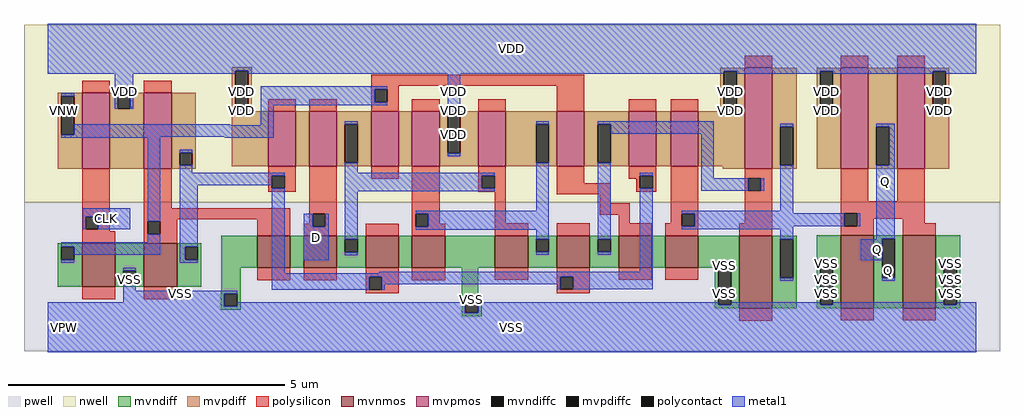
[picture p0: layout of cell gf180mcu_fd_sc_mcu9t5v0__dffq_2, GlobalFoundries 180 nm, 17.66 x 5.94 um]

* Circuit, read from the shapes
.subckt gf180mcu_fd_sc_mcu9t5v0__dffq_2 D CLK Q VDD VNW VPW VSS
XM1 VSS CLK n1 VPW nfet_06v0 w=0.79u l=0.6u
XM2 n2 n1 VSS VPW nfet_06v0 w=0.79u l=0.6u
XM3 n3 n1 VSS VPW nfet_06v0 w=0.58u l=0.6u
XM4 n4 D n3 VPW nfet_06v0 w=0.58u l=0.6u
XM5 n5 n2 n4 VPW nfet_06v0 w=0.58u l=0.6u
XM6 VSS n6 n5 VPW nfet_06v0 w=0.58u l=0.6u
XM7 n6 n4 VSS VPW nfet_06v0 w=0.58u l=0.6u
XM8 n7 n2 n6 VPW nfet_06v0 w=0.58u l=0.6u
XM9 n8 n1 n7 VPW nfet_06v0 w=0.58u l=0.6u
XM10 VSS n9 n8 VPW nfet_06v0 w=0.58u l=0.6u
XM11 n9 n7 VSS VPW nfet_06v0 w=1.32u l=0.6u
XM12 Q n9 VSS VPW nfet_06v0 w=1.32u l=0.6u m=2
XM13 VDD CLK n1 VNW pfet_06v0 w=1.38u l=0.5u
XM14 n2 n1 VDD VNW pfet_06v0 w=1.38u l=0.5u
XM15 n10 n2 VDD VNW pfet_06v0 w=1u l=0.5u
XM16 n4 D n10 VNW pfet_06v0 w=1u l=0.5u
XM17 n11 n1 n4 VNW pfet_06v0 w=1u l=0.5u
XM18 VDD n6 n11 VNW pfet_06v0 w=1u l=0.5u
XM19 n6 n4 VDD VNW pfet_06v0 w=1u l=0.5u
XM20 n7 n1 n6 VNW pfet_06v0 w=1u l=0.5u
XM21 n12 n2 n7 VNW pfet_06v0 w=1u l=0.5u
XM22 VDD n9 n12 VNW pfet_06v0 w=1u l=0.5u
XM23 n9 n7 VDD VNW pfet_06v0 w=1.83u l=0.5u
XM24 Q n9 VDD VNW pfet_06v0 w=1.83u l=0.5u m=2
.ends

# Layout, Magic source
magic
tech gf180mcuD
magscale 1 10
<< nwell >>
rect -86 453 3446 1094
<< pwell >>
rect -86 -86 3446 453
<< mvnmos >>
rect 124 146 244 304
rect 348 146 468 304
rect 758 215 878 331
rect 926 215 1046 331
rect 1150 215 1270 331
rect 1318 215 1438 331
rect 1618 216 1738 332
rect 1842 216 1962 332
rect 2066 216 2186 332
rect 2234 216 2354 332
rect 2502 68 2622 332
rect 2870 69 2990 333
rect 3094 69 3214 333
<< mvpmos >>
rect 124 573 224 849
rect 348 573 448 849
rect 798 582 898 782
rect 946 582 1046 782
rect 1170 582 1270 782
rect 1318 582 1418 782
rect 1558 582 1658 782
rect 1842 582 1942 782
rect 2102 582 2202 782
rect 2254 582 2354 782
rect 2522 573 2622 939
rect 2870 573 2970 939
rect 3074 573 3174 939
<< mvndiff >>
rect 1538 331 1618 332
rect 36 291 124 304
rect 36 245 49 291
rect 95 245 124 291
rect 36 146 124 245
rect 244 205 348 304
rect 244 159 273 205
rect 319 159 348 205
rect 244 146 348 159
rect 468 291 556 304
rect 468 245 497 291
rect 543 245 556 291
rect 468 146 556 245
rect 628 215 758 331
rect 878 215 926 331
rect 1046 318 1150 331
rect 1046 272 1075 318
rect 1121 272 1150 318
rect 1046 215 1150 272
rect 1270 215 1318 331
rect 1438 216 1618 331
rect 1738 319 1842 332
rect 1738 273 1767 319
rect 1813 273 1842 319
rect 1738 216 1842 273
rect 1962 319 2066 332
rect 1962 273 1991 319
rect 2037 273 2066 319
rect 1962 216 2066 273
rect 2186 216 2234 332
rect 2354 221 2502 332
rect 2354 216 2427 221
rect 1438 215 1558 216
rect 628 129 698 215
rect 626 122 698 129
rect 626 76 639 122
rect 685 76 698 122
rect 626 63 698 76
rect 1498 111 1558 215
rect 1498 98 1570 111
rect 1498 52 1511 98
rect 1557 52 1570 98
rect 2414 81 2427 216
rect 2473 81 2502 221
rect 2414 68 2502 81
rect 2622 319 2710 332
rect 2622 179 2651 319
rect 2697 179 2710 319
rect 2622 68 2710 179
rect 2782 222 2870 333
rect 2782 82 2795 222
rect 2841 82 2870 222
rect 2782 69 2870 82
rect 2990 320 3094 333
rect 2990 180 3019 320
rect 3065 180 3094 320
rect 2990 69 3094 180
rect 3214 222 3302 333
rect 3214 82 3243 222
rect 3289 82 3302 222
rect 3214 69 3302 82
rect 1498 39 1570 52
<< mvpdiff >>
rect 666 928 738 941
rect 36 836 124 849
rect 36 696 49 836
rect 95 696 124 836
rect 36 573 124 696
rect 224 836 348 849
rect 224 790 253 836
rect 299 790 348 836
rect 224 573 348 790
rect 448 632 536 849
rect 448 586 477 632
rect 523 586 536 632
rect 448 573 536 586
rect 666 788 679 928
rect 725 788 738 928
rect 2434 926 2522 939
rect 666 782 738 788
rect 2434 786 2447 926
rect 2493 786 2522 926
rect 2434 782 2522 786
rect 666 582 798 782
rect 898 582 946 782
rect 1046 735 1170 782
rect 1046 595 1075 735
rect 1121 595 1170 735
rect 1046 582 1170 595
rect 1270 582 1318 782
rect 1418 769 1558 782
rect 1418 629 1447 769
rect 1493 629 1558 769
rect 1418 582 1558 629
rect 1658 735 1842 782
rect 1658 595 1767 735
rect 1813 595 1842 735
rect 1658 582 1842 595
rect 1942 735 2102 782
rect 1942 595 1991 735
rect 2037 595 2102 735
rect 1942 582 2102 595
rect 2202 582 2254 782
rect 2354 582 2522 782
rect 2442 573 2522 582
rect 2622 726 2710 939
rect 2622 586 2651 726
rect 2697 586 2710 726
rect 2622 573 2710 586
rect 2782 926 2870 939
rect 2782 786 2795 926
rect 2841 786 2870 926
rect 2782 573 2870 786
rect 2970 726 3074 939
rect 2970 586 2999 726
rect 3045 586 3074 726
rect 2970 573 3074 586
rect 3174 926 3262 939
rect 3174 786 3203 926
rect 3249 786 3262 926
rect 3174 573 3262 786
<< mvndiffc >>
rect 49 245 95 291
rect 273 159 319 205
rect 497 245 543 291
rect 1075 272 1121 318
rect 1767 273 1813 319
rect 1991 273 2037 319
rect 639 76 685 122
rect 1511 52 1557 98
rect 2427 81 2473 221
rect 2651 179 2697 319
rect 2795 82 2841 222
rect 3019 180 3065 320
rect 3243 82 3289 222
<< mvpdiffc >>
rect 49 696 95 836
rect 253 790 299 836
rect 477 586 523 632
rect 679 788 725 928
rect 2447 786 2493 926
rect 1075 595 1121 735
rect 1447 629 1493 769
rect 1767 595 1813 735
rect 1991 595 2037 735
rect 2651 586 2697 726
rect 2795 786 2841 926
rect 2999 586 3045 726
rect 3203 786 3249 926
<< polysilicon >>
rect 2522 939 2622 983
rect 2870 939 2970 983
rect 3074 939 3174 983
rect 124 849 224 893
rect 348 849 448 893
rect 1170 874 1942 914
rect 1170 861 1270 874
rect 798 782 898 826
rect 946 782 1046 826
rect 1170 815 1183 861
rect 1229 815 1270 861
rect 1170 782 1270 815
rect 1318 782 1418 826
rect 1558 782 1658 826
rect 1842 782 1942 874
rect 2102 782 2202 826
rect 2254 782 2354 826
rect 124 400 224 573
rect 124 354 137 400
rect 183 354 224 400
rect 124 348 224 354
rect 348 431 448 573
rect 798 549 898 582
rect 798 503 811 549
rect 857 503 898 549
rect 798 490 898 503
rect 348 391 878 431
rect 348 383 468 391
rect 124 304 244 348
rect 348 337 361 383
rect 407 337 468 383
rect 348 304 468 337
rect 758 331 878 391
rect 946 410 1046 582
rect 1170 538 1270 582
rect 946 375 959 410
rect 926 364 959 375
rect 1005 364 1046 410
rect 1318 410 1418 582
rect 1558 549 1658 582
rect 1558 503 1571 549
rect 1617 503 1658 549
rect 1558 490 1658 503
rect 926 331 1046 364
rect 1150 331 1270 375
rect 1318 364 1331 410
rect 1377 375 1418 410
rect 1618 376 1658 490
rect 1842 522 1942 582
rect 2102 549 2202 582
rect 2102 538 2143 549
rect 1842 482 2038 522
rect 2130 503 2143 538
rect 2189 503 2202 549
rect 2130 490 2202 503
rect 1998 448 2038 482
rect 1998 408 2106 448
rect 2066 376 2106 408
rect 2254 411 2354 582
rect 2254 376 2295 411
rect 1377 364 1438 375
rect 1318 331 1438 364
rect 1618 332 1738 376
rect 1842 332 1962 376
rect 2066 332 2186 376
rect 2234 365 2295 376
rect 2341 365 2354 411
rect 2522 540 2622 573
rect 2522 494 2535 540
rect 2581 494 2622 540
rect 2522 376 2622 494
rect 2234 332 2354 365
rect 2502 332 2622 376
rect 2870 456 2970 573
rect 3074 456 3174 573
rect 2870 412 3174 456
rect 2870 366 2883 412
rect 2929 393 3174 412
rect 2929 366 2990 393
rect 2870 333 2990 366
rect 3094 377 3174 393
rect 3094 333 3214 377
rect 124 102 244 146
rect 348 102 468 146
rect 758 171 878 215
rect 926 171 1046 215
rect 1150 182 1270 215
rect 1150 136 1163 182
rect 1209 136 1270 182
rect 1318 171 1438 215
rect 1150 123 1270 136
rect 1618 172 1738 216
rect 1842 183 1962 216
rect 1842 137 1855 183
rect 1901 137 1962 183
rect 2066 172 2186 216
rect 2234 172 2354 216
rect 1842 124 1962 137
rect 2502 24 2622 68
rect 2870 25 2990 69
rect 3094 25 3214 69
<< polycontact >>
rect 1183 815 1229 861
rect 137 354 183 400
rect 811 503 857 549
rect 361 337 407 383
rect 959 364 1005 410
rect 1571 503 1617 549
rect 1331 364 1377 410
rect 2143 503 2189 549
rect 2295 365 2341 411
rect 2535 494 2581 540
rect 2883 366 2929 412
rect 1163 136 1209 182
rect 1855 137 1901 183
<< metal1 >>
rect 0 928 3360 1098
rect 0 918 679 928
rect 49 836 95 847
rect 242 836 310 918
rect 242 790 253 836
rect 299 790 310 836
rect 725 926 3360 928
rect 725 918 2447 926
rect 679 777 725 788
rect 771 861 1229 872
rect 771 815 1183 861
rect 771 804 1229 815
rect 95 731 660 735
rect 771 731 817 804
rect 1447 769 1493 918
rect 2493 918 2795 926
rect 2447 775 2493 786
rect 2841 918 3203 926
rect 2795 775 2841 786
rect 3249 918 3360 926
rect 3203 775 3249 786
rect 95 696 817 731
rect 49 689 817 696
rect 49 685 407 689
rect 641 685 817 689
rect 1075 735 1121 746
rect 126 400 298 430
rect 126 354 137 400
rect 183 354 298 400
rect 361 383 407 685
rect 361 308 407 337
rect 49 291 407 308
rect 95 262 407 291
rect 477 632 523 643
rect 477 560 523 586
rect 1447 618 1493 629
rect 1767 735 1813 746
rect 1075 560 1121 595
rect 477 549 857 560
rect 477 514 811 549
rect 477 291 543 514
rect 49 234 95 245
rect 477 245 497 291
rect 477 234 543 245
rect 273 205 319 216
rect 273 133 319 159
rect 811 196 857 503
rect 1075 549 1617 560
rect 1075 503 1571 549
rect 1075 492 1617 503
rect 926 364 959 410
rect 1005 364 1016 410
rect 926 242 1016 364
rect 1075 318 1121 492
rect 1767 421 1813 595
rect 1331 410 1813 421
rect 1377 364 1813 410
rect 1331 353 1813 364
rect 1075 261 1121 272
rect 1767 319 1813 353
rect 1767 262 1813 273
rect 1991 735 2411 746
rect 2037 700 2411 735
rect 1991 319 2037 595
rect 1991 262 2037 273
rect 2143 549 2189 560
rect 2143 201 2189 503
rect 2365 540 2411 700
rect 2651 726 2697 737
rect 2365 494 2535 540
rect 2581 494 2592 540
rect 2651 422 2697 586
rect 2295 412 2697 422
rect 2999 726 3065 737
rect 3045 586 3065 726
rect 2295 411 2883 412
rect 2341 366 2883 411
rect 2929 366 2940 412
rect 2341 365 2697 366
rect 2295 354 2697 365
rect 2651 319 2697 354
rect 1199 196 2189 201
rect 811 183 2189 196
rect 811 182 1855 183
rect 811 136 1163 182
rect 1209 155 1855 182
rect 1209 136 1220 155
rect 1844 137 1855 155
rect 1901 137 2189 183
rect 2427 221 2473 232
rect 273 122 685 133
rect 273 90 639 122
rect 0 76 639 90
rect 1511 98 1557 109
rect 685 76 1511 90
rect 0 52 1511 76
rect 1557 81 2427 90
rect 2999 320 3065 586
rect 2999 318 3019 320
rect 2942 242 3019 318
rect 2651 168 2697 179
rect 2795 222 2841 233
rect 2473 82 2795 90
rect 3019 169 3065 180
rect 3243 222 3289 233
rect 2841 82 3243 90
rect 3289 82 3360 90
rect 2473 81 3360 82
rect 1557 52 3360 81
rect 0 -90 3360 52
<< labels >>
flabel metal1 s 126 354 298 430 0 FreeSans 200 0 0 0 CLK
port 2 nsew clock input
flabel metal1 s 926 242 1016 410 0 FreeSans 200 0 0 0 D
port 1 nsew default input
flabel metal1 s 2999 318 3065 737 0 FreeSans 200 0 0 0 Q
port 3 nsew default output
flabel metal1 s 0 918 3360 1098 0 FreeSans 200 0 0 0 VDD
port 4 nsew power bidirectional abutment
flabel metal1 s 3243 232 3289 233 0 FreeSans 200 0 0 0 VSS
port 7 nsew ground bidirectional abutment
flabel nwell s 10 734 110 834 0 FreeSans 400 0 0 0 VNW
port 5 nsew power bidirectional
flabel pwell s 10 -50 110 50 0 FreeSans 400 0 0 0 VPW
port 6 nsew ground bidirectional
rlabel metal1 s 2942 242 3065 318 1 Q
port 3 nsew default output
rlabel metal1 s 3019 169 3065 242 1 Q
port 3 nsew default output
rlabel metal1 s 3203 790 3249 918 1 VDD
port 4 nsew power bidirectional abutment
rlabel metal1 s 2795 790 2841 918 1 VDD
port 4 nsew power bidirectional abutment
rlabel metal1 s 2447 790 2493 918 1 VDD
port 4 nsew power bidirectional abutment
rlabel metal1 s 1447 790 1493 918 1 VDD
port 4 nsew power bidirectional abutment
rlabel metal1 s 679 790 725 918 1 VDD
port 4 nsew power bidirectional abutment
rlabel metal1 s 242 790 310 918 1 VDD
port 4 nsew power bidirectional abutment
rlabel metal1 s 3203 777 3249 790 1 VDD
port 4 nsew power bidirectional abutment
rlabel metal1 s 2795 777 2841 790 1 VDD
port 4 nsew power bidirectional abutment
rlabel metal1 s 2447 777 2493 790 1 VDD
port 4 nsew power bidirectional abutment
rlabel metal1 s 1447 777 1493 790 1 VDD
port 4 nsew power bidirectional abutment
rlabel metal1 s 679 777 725 790 1 VDD
port 4 nsew power bidirectional abutment
rlabel metal1 s 3203 775 3249 777 1 VDD
port 4 nsew power bidirectional abutment
rlabel metal1 s 2795 775 2841 777 1 VDD
port 4 nsew power bidirectional abutment
rlabel metal1 s 2447 775 2493 777 1 VDD
port 4 nsew power bidirectional abutment
rlabel metal1 s 1447 775 1493 777 1 VDD
port 4 nsew power bidirectional abutment
rlabel metal1 s 1447 618 1493 775 1 VDD
port 4 nsew power bidirectional abutment
rlabel metal1 s 2795 232 2841 233 1 VSS
port 7 nsew ground bidirectional abutment
rlabel metal1 s 3243 216 3289 232 1 VSS
port 7 nsew ground bidirectional abutment
rlabel metal1 s 2795 216 2841 232 1 VSS
port 7 nsew ground bidirectional abutment
rlabel metal1 s 2427 216 2473 232 1 VSS
port 7 nsew ground bidirectional abutment
rlabel metal1 s 3243 133 3289 216 1 VSS
port 7 nsew ground bidirectional abutment
rlabel metal1 s 2795 133 2841 216 1 VSS
port 7 nsew ground bidirectional abutment
rlabel metal1 s 2427 133 2473 216 1 VSS
port 7 nsew ground bidirectional abutment
rlabel metal1 s 273 133 319 216 1 VSS
port 7 nsew ground bidirectional abutment
rlabel metal1 s 3243 109 3289 133 1 VSS
port 7 nsew ground bidirectional abutment
rlabel metal1 s 2795 109 2841 133 1 VSS
port 7 nsew ground bidirectional abutment
rlabel metal1 s 2427 109 2473 133 1 VSS
port 7 nsew ground bidirectional abutment
rlabel metal1 s 273 109 685 133 1 VSS
port 7 nsew ground bidirectional abutment
rlabel metal1 s 3243 90 3289 109 1 VSS
port 7 nsew ground bidirectional abutment
rlabel metal1 s 2795 90 2841 109 1 VSS
port 7 nsew ground bidirectional abutment
rlabel metal1 s 2427 90 2473 109 1 VSS
port 7 nsew ground bidirectional abutment
rlabel metal1 s 1511 90 1557 109 1 VSS
port 7 nsew ground bidirectional abutment
rlabel metal1 s 273 90 685 109 1 VSS
port 7 nsew ground bidirectional abutment
rlabel metal1 s 0 -90 3360 90 1 VSS
port 7 nsew ground bidirectional abutment
<< properties >>
string FIXED_BBOX 0 0 3360 1008
string GDS_END 595872
string GDS_FILE $PDKPATH/libs.ref/gf180mcu_fd_sc_mcu9t5v0/gds/gf180mcu_fd_sc_mcu9t5v0.gds
string GDS_START 587834
string LEFclass core
string LEFsite GF018hv5v_green_sc9
string LEFsymmetry X Y
<< end >>
